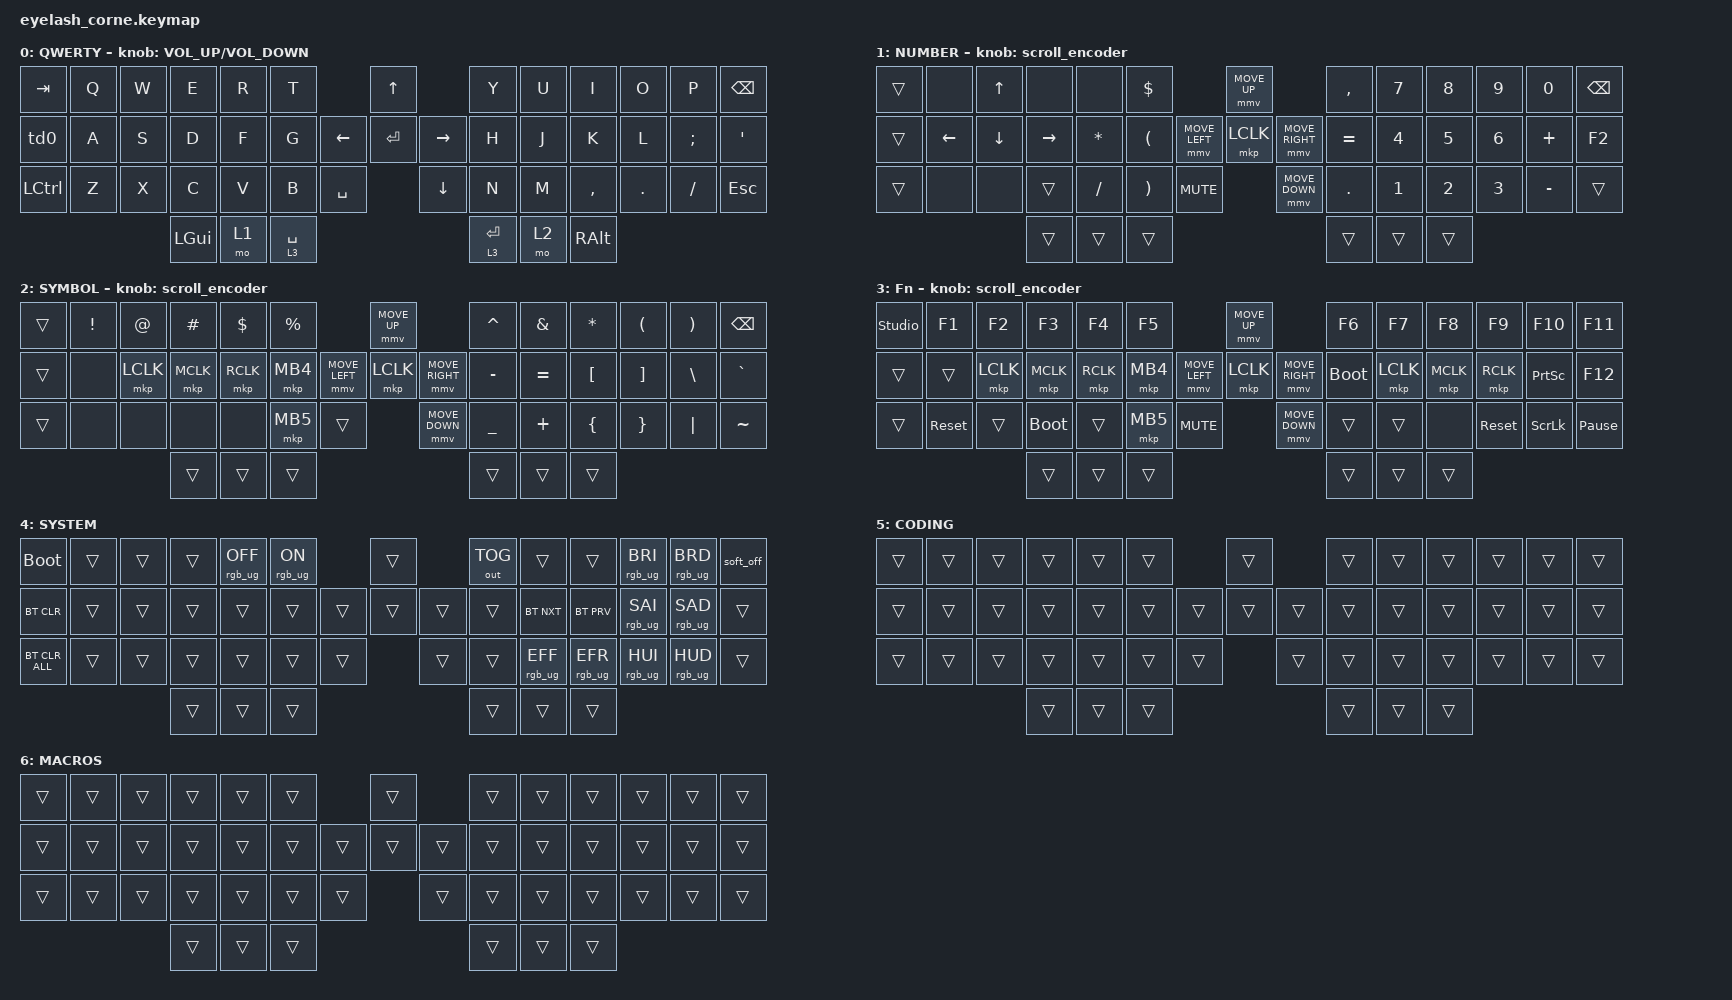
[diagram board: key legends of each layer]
#define ZMK_POINTING_DEFAULT_MOVE_VAL 1200  // 600
#define ZMK_POINTING_DEFAULT_SCRL_VAL 25   // 10

#include <input/processors.dtsi>
#include <zephyr/dt-bindings/input/input-event-codes.h>
#include <behaviors.dtsi>
#include <dt-bindings/zmk/bt.h>
#include <dt-bindings/zmk/keys.h>
#include <dt-bindings/zmk/outputs.h>
#include <dt-bindings/zmk/pointing.h>
#include <dt-bindings/zmk/rgb.h>

&mmv_input_listener { input-processors = <&zip_xy_scaler 2 1>; };

&msc_input_listener { input-processors = <&zip_scroll_scaler 2 1>; };

&msc {
    acceleration-exponent = <1>;      // 0
    time-to-max-speed-ms = <100>;       // 300
    delay-ms = <0>;                   // 0
};

&mmv {
    time-to-max-speed-ms = <500>;
    acceleration-exponent = <1>;
    trigger-period-ms = <16>;
};

&soft_off { hold-time-ms = <2000>; };

/ {
    behaviors {
        td0: td0 {
            compatible = "zmk,behavior-tap-dance";
            display-name = "Shift/Caps Lock Tap Dance";
            #binding-cells = <0>;
            bindings = <&kp LEFT_SHIFT>, <&kp CAPS>;
        };
    };

    rgb_encoder: rgb_encoder {
        compatible = "zmk,behavior-sensor-rotate";
        #sensor-binding-cells = <0>;
        bindings = <&rgb_ug RGB_BRI>, <&rgb_ug RGB_BRD>;
    };

    scroll_encoder: scroll_encoder {
        compatible = "zmk,behavior-sensor-rotate";
        #sensor-binding-cells = <0>;
        bindings = <&msc SCRL_DOWN>, <&msc SCRL_UP>;

        tap-ms = <100>;
    };

    combos {
        compatible = "zmk,combos";

        softoff {
            bindings = <&soft_off>;
            key-positions = <1 15 29>;
        };
    };

    keymap {
        compatible = "zmk,keymap";

        default_layer {
            display-name = "QWERTY";
            bindings = <
&kp TAB    &kp Q  &kp W  &kp E     &kp R  &kp T                               &kp UP                &kp Y        &kp U  &kp I      &kp O    &kp P     &kp BSPC
&td0       &kp A  &kp S  &kp D     &kp F  &kp G                     &kp LEFT  &kp ENTER  &kp RIGHT  &kp H        &kp J  &kp K      &kp L    &kp SEMI  &kp SQT
&kp LCTRL  &kp Z  &kp X  &kp C     &kp V  &kp B        &kp SPACE              &kp DOWN              &kp N        &kp M  &kp COMMA  &kp DOT  &kp FSLH  &kp ESC
                         &kp LGUI  &mo 1  &lt 3 SPACE                                               &lt 3 ENTER  &mo 2  &kp RALT
            >;

            sensor-bindings = <&inc_dec_kp C_VOLUME_UP C_VOLUME_DOWN>;
        };

        lower_layer {
            display-name = "NUMBER";
            bindings = <
&trans  &none           &kp UP_ARROW  &none      &none         &kp DOLLAR                                           &mmv MOVE_UP                     &kp COMMA   &kp N7  &kp N8  &kp N9  &kp N0     &kp BSPC
&trans  &kp LEFT_ARROW  &kp DOWN      &kp RIGHT  &kp ASTERISK  &kp LEFT_PARENTHESIS                 &mmv MOVE_LEFT  &mkp LCLK       &mmv MOVE_RIGHT  &kp EQUAL   &kp N4  &kp N5  &kp N6  &kp PLUS   &kp F2
&trans  &none           &none         &trans     &kp SLASH     &kp RIGHT_PARENTHESIS  &kp C_MUTE                    &mmv MOVE_DOWN                   &kp PERIOD  &kp N1  &kp N2  &kp N3  &kp MINUS  &trans
                                      &trans     &trans        &trans                                                                                &trans      &trans  &trans
            >;

            sensor-bindings = <&scroll_encoder>;
        };

        raise_layer {
            display-name = "SYMBOL";
            bindings = <
&trans  &kp EXCL  &kp AT     &kp HASH   &kp DLLR   &kp PRCNT                            &mmv MOVE_UP                     &kp CARET  &kp AMPS   &kp ASTRK  &kp LPAR  &kp RPAR  &kp BSPC
&trans  &none     &mkp LCLK  &mkp MCLK  &mkp RCLK  &mkp MB4             &mmv MOVE_LEFT  &mkp LCLK       &mmv MOVE_RIGHT  &kp MINUS  &kp EQUAL  &kp LBKT   &kp RBKT  &kp BSLH  &kp GRAVE
&trans  &none     &none      &none      &none      &mkp MB5   &trans                    &mmv MOVE_DOWN                   &kp UNDER  &kp PLUS   &kp LBRC   &kp RBRC  &kp PIPE  &kp TILDE
                             &trans     &trans     &trans                                                                &trans     &trans     &trans
            >;

            sensor-bindings = <&scroll_encoder>;
        };

        fn_layer {
            display-name = "Fn";
            bindings = <
&studio_unlock  &kp F1      &kp F2     &kp F3       &kp F4     &kp F5                                  &mmv MOVE_UP                     &kp F6       &kp F7     &kp F8     &kp F9      &kp F10          &kp F11
&trans          &trans      &mkp LCLK  &mkp MCLK    &mkp RCLK  &mkp MB4                &mmv MOVE_LEFT  &mkp LCLK       &mmv MOVE_RIGHT  &bootloader  &mkp LCLK  &mkp MCLK  &mkp RCLK   &kp PRINTSCREEN  &kp F12
&trans          &sys_reset  &trans     &bootloader  &trans     &mkp MB5  &kp C_MUTE                    &mmv MOVE_DOWN                   &trans       &trans     &none      &sys_reset  &kp SCROLLLOCK   &kp PAUSE_BREAK
                                       &trans       &trans     &trans                                                                   &trans       &trans     &trans
            >;

            sensor-bindings = <&scroll_encoder>;
        };

        system_layer {
            bindings = <
&bootloader     &trans  &trans  &trans  &rgb_ug RGB_OFF  &rgb_ug RGB_ON                    &trans          &out OUT_TOG  &trans           &trans           &rgb_ug RGB_BRI  &rgb_ug RGB_BRD  &soft_off
&bt BT_CLR      &trans  &trans  &trans  &trans           &trans                    &trans  &trans  &trans  &trans        &bt BT_NXT       &bt BT_PRV       &rgb_ug RGB_SAI  &rgb_ug RGB_SAD  &trans
&bt BT_CLR_ALL  &trans  &trans  &trans  &trans           &trans          &trans            &trans          &trans        &rgb_ug RGB_EFF  &rgb_ug RGB_EFR  &rgb_ug RGB_HUI  &rgb_ug RGB_HUD  &trans
                                &trans  &trans           &trans                                            &trans        &trans           &trans
            >;

            label = "SYSTEM";
        };

        coding_layer {
            bindings = <
&trans  &trans  &trans  &trans  &trans  &trans                    &trans          &trans  &trans  &trans  &trans  &trans  &trans
&trans  &trans  &trans  &trans  &trans  &trans            &trans  &trans  &trans  &trans  &trans  &trans  &trans  &trans  &trans
&trans  &trans  &trans  &trans  &trans  &trans  &trans            &trans          &trans  &trans  &trans  &trans  &trans  &trans
                        &trans  &trans  &trans                                    &trans  &trans  &trans
            >;

            label = "CODING";
        };

        macros_layer {
            bindings = <
&trans  &trans  &trans  &trans  &trans  &trans                    &trans          &trans  &trans  &trans  &trans  &trans  &trans
&trans  &trans  &trans  &trans  &trans  &trans            &trans  &trans  &trans  &trans  &trans  &trans  &trans  &trans  &trans
&trans  &trans  &trans  &trans  &trans  &trans  &trans            &trans          &trans  &trans  &trans  &trans  &trans  &trans
                        &trans  &trans  &trans                                    &trans  &trans  &trans
            >;

            label = "MACROS";
        };
    };
};
